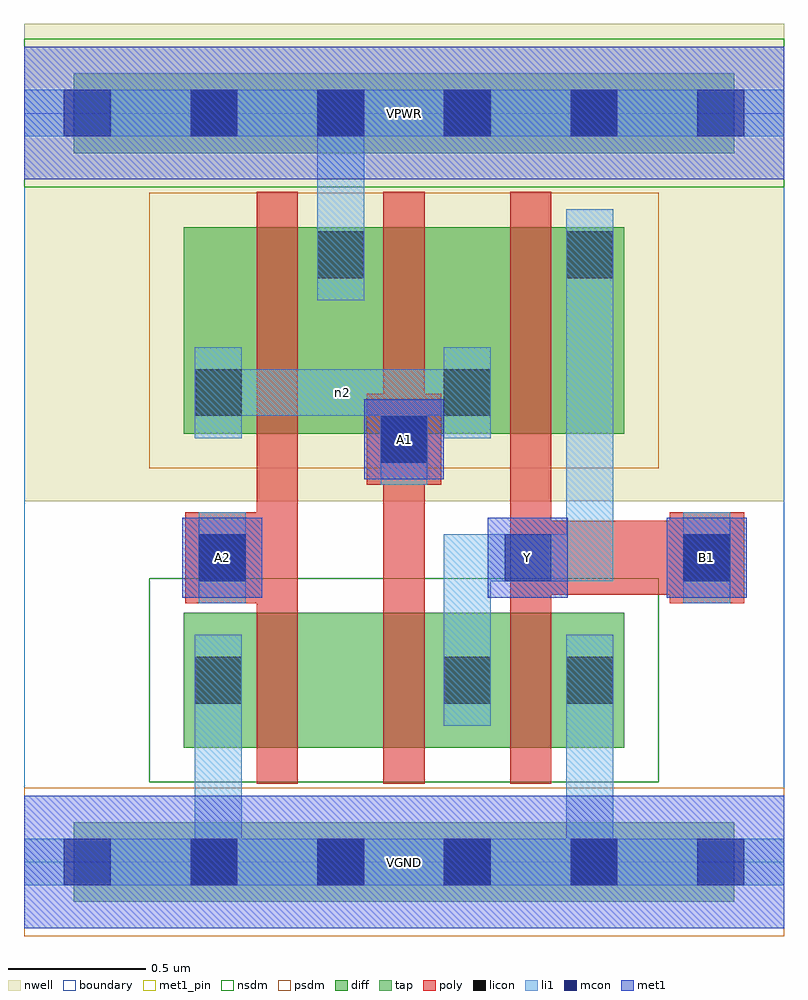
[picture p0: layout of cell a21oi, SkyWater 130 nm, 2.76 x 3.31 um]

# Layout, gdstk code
import gdstk
lib = gdstk.Library(unit=1e-6, precision=1e-09)
def R(c, l, rs):  # rectangles x0, y0, x1, y1
    for r in rs: c.add(gdstk.rectangle(r[:2], r[2:], *l))
def A(c, l, x, y, w, h, nx, ny, dx, dy):  # array of equal rectangles
    R(c, l, [(x+i*dx, y+j*dy, x+i*dx+w, y+j*dy+h) for i in range(nx) for j in range(ny)])
nwell = (64, 20)
diff = (65, 20)
tap = (65, 44)
poly = (66, 20)
licon = (66, 44)
li1 = (67, 20)
mcon = (67, 44)
met1_pin = (68, 16)
met1 = (68, 20)
nsdm = (93, 44)
psdm = (94, 20)
boundary = (235, 4)

a21oi = lib.new_cell('a21oi')
R(a21oi, nwell, [(0,1.31,2.76,3.045)])
R(a21oi, diff, [(0.58,0.415,2.18,0.905), (0.58,1.555,2.18,2.305)])
R(a21oi, tap, [(0.18,-0.145,2.58,0.145), (0.18,2.575,2.58,2.865)])
A(a21oi, poly, 0.845, 0.285, 0.15, 2.15, 3, 1, 0.46, 0)
R(a21oi, poly, [(0.585,0.94,0.855,1.27), (2.345,0.94,2.615,1.27), (1.84,0.97,2.48,1.24), (1.245,1.37,1.515,1.7)])
A(a21oi, licon, 0.605, -0.085, 0.17, 0.17, 4, 2, 0.46, 2.72)
R(a21oi, licon, [(0.62,0.575,0.79,0.745), (1.525,0.575,1.695,0.745), (1.97,0.575,2.14,0.745), (0.635,1.02,0.805,1.19), (2.395,1.02,2.565,1.19), (1.295,1.45,1.465,1.62), (0.62,1.62,0.79,1.79), (1.525,1.62,1.695,1.79), (1.065,2.12,1.235,2.29), (1.97,2.12,2.14,2.29)])
R(a21oi, li1, [(0,-0.085,2.76,0.085), (0.62,-0.085,0.79,0.825), (1.97,-0.085,2.14,0.825), (0.62,0.495,0.79,0.825), (1.525,0.495,1.695,0.825), (1.97,0.495,2.14,0.825), (1.525,0.66,1.695,1.19), (0.635,0.94,0.805,1.27), (2.395,0.94,2.565,1.27), (1.525,1.02,2.14,1.19), (1.97,1.02,2.14,2.29), (1.295,1.37,1.465,1.7), (0.62,1.54,0.79,1.87), (1.525,1.54,1.695,1.87), (0.62,1.62,1.695,1.79), (1.065,2.04,1.235,2.37), (1.065,2.04,1.235,2.805), (1.97,2.04,2.14,2.37), (0,2.635,2.76,2.805)])
A(a21oi, mcon, 0.145, -0.085, 0.17, 0.17, 6, 2, 0.46, 2.72)
R(a21oi, mcon, [(0.635,1.02,0.805,1.19), (1.745,1.02,1.915,1.19), (2.395,1.02,2.565,1.19), (1.295,1.45,1.465,1.62)])
R(a21oi, met1_pin, [(0,-0.24,2.76,0.24), (0.575,0.96,0.865,1.25), (1.685,0.96,1.975,1.25), (2.335,0.96,2.625,1.25), (1.235,1.39,1.525,1.68), (0,2.48,2.76,2.96)])
R(a21oi, met1, [(0,-0.24,2.76,0.24), (0.575,0.96,0.865,1.25), (1.685,0.96,1.975,1.25), (2.335,0.96,2.625,1.25), (1.235,1.39,1.525,1.68), (0,2.48,2.76,2.96)])
R(a21oi, nsdm, [(0.455,0.29,2.305,1.03), (0,2.45,2.76,2.99)])
R(a21oi, psdm, [(0,-0.27,2.76,0.27), (0.455,1.43,2.305,2.43)])
R(a21oi, boundary, [(0,0,2.76,2.72)])
a21oi.add(gdstk.Label('n2', (1.157,1.705), layer=67, texttype=5))
a21oi.add(gdstk.Label('A2', (0.72,1.105), layer=68, texttype=5))
a21oi.add(gdstk.Label('A1', (1.38,1.535), layer=68, texttype=5))
a21oi.add(gdstk.Label('B1', (2.48,1.105), layer=68, texttype=5))
a21oi.add(gdstk.Label('Y', (1.83,1.105), layer=68, texttype=5))
a21oi.add(gdstk.Label('VPWR', (1.38,2.72), layer=68, texttype=5))
a21oi.add(gdstk.Label('VGND', (1.38,0), layer=68, texttype=5))
a21oi.add(gdstk.Label('A2', (0.72,1.105), layer=68, texttype=16))
a21oi.add(gdstk.Label('A1', (1.38,1.535), layer=68, texttype=16))
a21oi.add(gdstk.Label('B1', (2.48,1.105), layer=68, texttype=16))
a21oi.add(gdstk.Label('Y', (1.83,1.105), layer=68, texttype=16))
a21oi.add(gdstk.Label('VPWR', (1.38,2.72), layer=68, texttype=16))
a21oi.add(gdstk.Label('VGND', (1.38,0), layer=68, texttype=16))

lib.write_gds('a21oi.gds')
